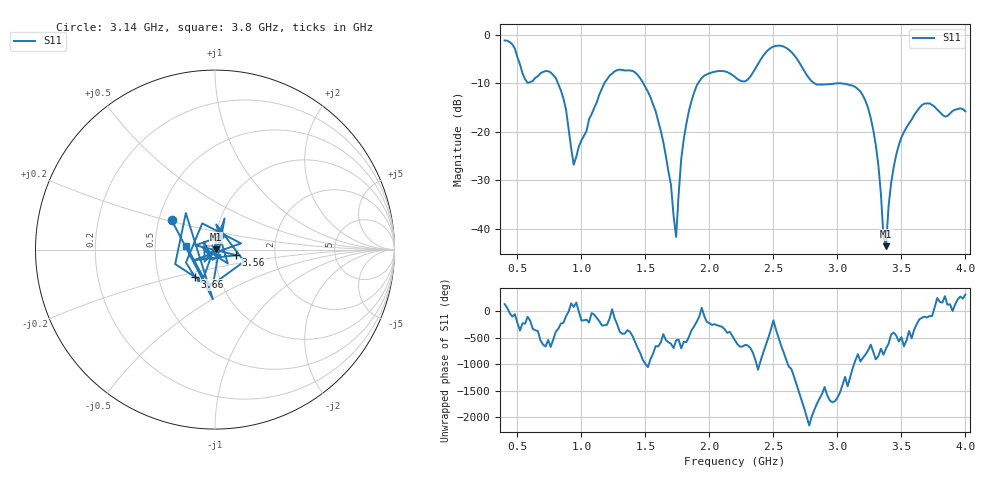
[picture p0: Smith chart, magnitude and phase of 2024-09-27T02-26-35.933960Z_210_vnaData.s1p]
!Created with skrf (http://scikit-rf.org).
# Hz S RI R 50.0
!freq ReS11 ImS11
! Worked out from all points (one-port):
!   181 points, 400 MHz to 4 GHz, reference 50 ohm
!   lowest |S11| = -43.5 dB at 3.38 GHz (marker M1), VSWR 1.01, Z = 50.6 + j0.169 ohm
!   |S11| at or under -10 dB: 817.6 MHz to 1.178 GHz (360.9 MHz wide, 36.2 % of centre); 1.484 GHz to 1.911 GHz (427.4 MHz wide, 25.2 % of centre); 3.029 GHz to end of sweep (the widest 3 of 4)
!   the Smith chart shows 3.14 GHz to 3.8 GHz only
!   S11 on the Smith chart (normalised r, x): 3.14 GHz: 0.58, +0.21; 3.56 GHz: 1.27, -0.08; 3.66 GHz: 0.76, -0.24; 3.8 GHz: 0.72, +0.03
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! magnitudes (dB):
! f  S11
! 400 MHz  -1.2
! 580 MHz  -9.9
! 740 MHz  -7.5
! 860 MHz  -13.2
! 940 MHz  -26.8
! 1.18 GHz  -9.9
! 1.3 GHz  -7.2
! 1.44 GHz  -8.3
! 1.58 GHz  -15.7
! 1.7 GHz  -31.0
! 1.74 GHz  -41.6
! 1.76 GHz  -32.8
! 1.8 GHz  -21.5
! 1.9 GHz  -10.5
! 2.2 GHz  -8.7
! 2.5 GHz  -2.4
! 2.66 GHz  -4.1
! 2.82 GHz  -10.0
! 3.1 GHz  -10.3
! 3.14 GHz  -10.7
! 3.28 GHz  -19.6
! 3.38 GHz  -43.5
! 3.4 GHz  -35.2
! 3.44 GHz  -27.2
! 3.56 GHz  -18.2
! 3.66 GHz  -14.5
! 3.8 GHz  -15.9
! 4 GHz  -15.8
